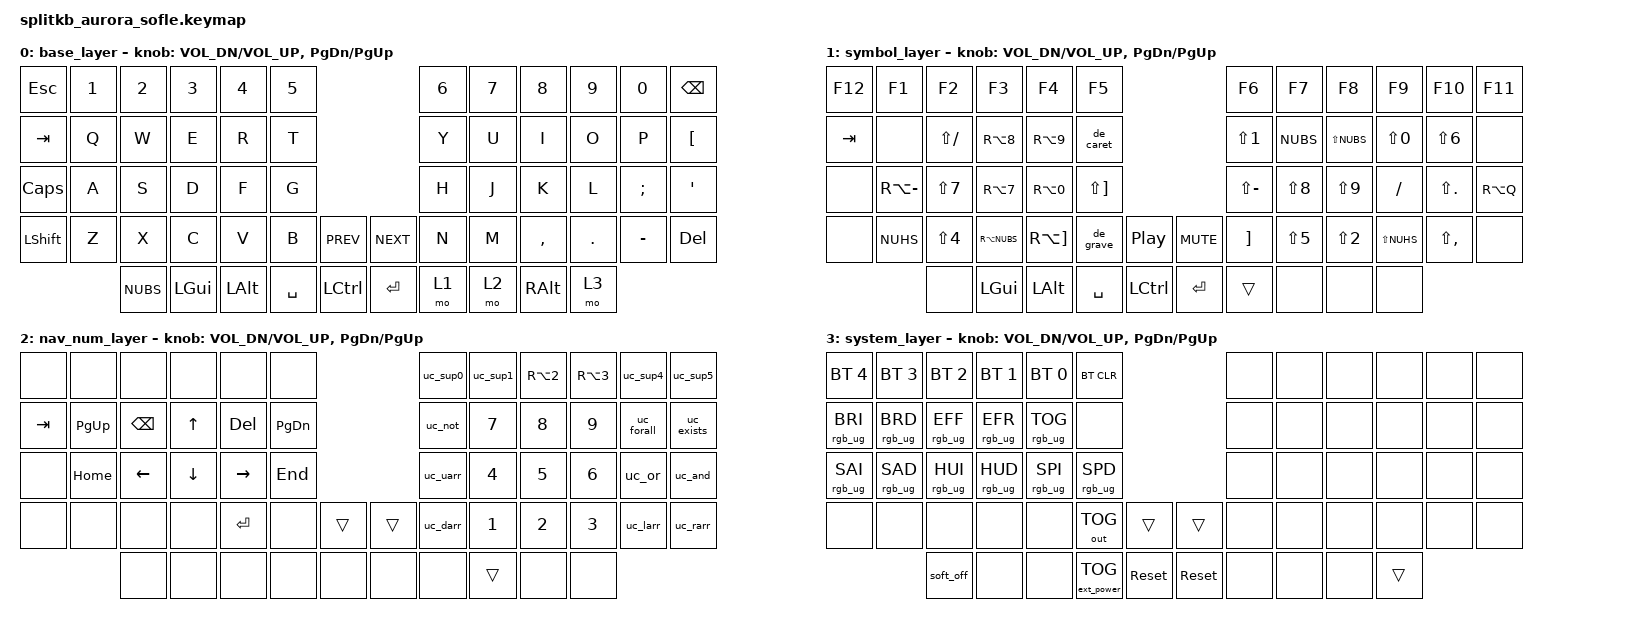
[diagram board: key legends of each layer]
/*
 * Copyright (c) 2020 The ZMK Contributors
 *
 * SPDX-License-Identifier: MIT
 */

#include <behaviors.dtsi>
#include <dt-bindings/zmk/bt.h>
#include <dt-bindings/zmk/ext_power.h>
#include <dt-bindings/zmk/keys.h>
#include <dt-bindings/zmk/outputs.h>
#include <dt-bindings/zmk/rgb.h>

// Aurora Sofle v2 LED chain, per half: 6 WS2812B underglow + 29 SK6812 MINI-E per-key = 35.
// The strip itself (SPI3, data on P0.06, GRB order) is already defined by ZMK's
// splitkb_aurora_sofle shield for nice!nano; only the length needs overriding here.
&led_strip {
    chain-length = <35>;
};

// ---------------------------------------------------------------------------
// German (QWERTZ) layout on the host.
// ZMK sends US key positions; these aliases name what the German OS layout
// actually types for each position.
// ---------------------------------------------------------------------------
#define DE_Z      Y
#define DE_Y      Z
#define DE_UE     LBKT              // ü
#define DE_OE     SEMI              // ö
#define DE_AE     SQT               // ä
#define DE_SZ     MINUS             // ß
#define DE_LT     NUBS              // <
#define DE_GT     LS(NUBS)          // >
#define DE_PIPE   RA(NUBS)          // |
#define DE_MINUS  FSLH              // -
#define DE_UNDER  LS(FSLH)          // _
#define DE_PLUS   RBKT              // +
#define DE_STAR   LS(RBKT)          // *
#define DE_TILDE  RA(RBKT)          // ~
#define DE_HASH   NUHS              // #
#define DE_SQT    LS(NUHS)          // '
#define DE_EXCL   LS(N1)            // !
#define DE_DQT    LS(N2)            // "
#define DE_DLLR   LS(N4)            // $
#define DE_PRCNT  LS(N5)            // %
#define DE_AMPS   LS(N6)            // &
#define DE_SLASH  LS(N7)            // /
#define DE_LPAR   LS(N8)            // (
#define DE_RPAR   LS(N9)            // )
#define DE_EQUAL  LS(N0)            // =
#define DE_QMARK  LS(MINUS)         // ?
#define DE_LBRC   RA(N7)            // {
#define DE_LBKT   RA(N8)            // [
#define DE_RBKT   RA(N9)            // ]
#define DE_RBRC   RA(N0)            // }
#define DE_BSLH   RA(MINUS)         // backslash
#define DE_AT     RA(Q)             // @
#define DE_COLON  LS(DOT)           // :
#define DE_SEMI   LS(COMMA)         // ;
#define DE_SUP2   RA(N2)            // ²
#define DE_SUP3   RA(N3)            // ³

// ---------------------------------------------------------------------------
// Unicode characters the German layout can't type, sent with Windows'
// hex-numpad input: hold Alt, numpad +, the hex code point, release Alt.
// Needs EnableHexNumpad = "1" (REG_SZ) under HKCU\Control Panel\Input Method,
// a sign-out afterwards, and NumLock on.
// ---------------------------------------------------------------------------
#define UNICODE(name, h1, h2, h3, h4)                                   \
    ZMK_MACRO(name,                                                      \
        bindings = <&macro_press &kp LALT>,                              \
                   <&macro_tap &kp KP_PLUS &kp h1 &kp h2 &kp h3 &kp h4>, \
                   <&macro_release &kp LALT>;                            \
    )

/ {
    macros {
        // ^ and ` are dead keys on the German layout; follow them with a space
        // so they type the plain character.
        de_caret: de_caret {
            compatible = "zmk,behavior-macro";
            #binding-cells = <0>;
            bindings = <&kp GRAVE &kp SPACE>;
        };
        de_grave: de_grave {
            compatible = "zmk,behavior-macro";
            #binding-cells = <0>;
            bindings = <&kp LS(EQUAL) &kp SPACE>;
        };

        UNICODE(uc_sup0,   KP_N2, KP_N0, KP_N7, KP_N0)   // ⁰ U+2070
        UNICODE(uc_sup1,   KP_N0, KP_N0, B,     KP_N9)   // ¹ U+00B9
        UNICODE(uc_sup4,   KP_N2, KP_N0, KP_N7, KP_N4)   // ⁴ U+2074
        UNICODE(uc_sup5,   KP_N2, KP_N0, KP_N7, KP_N5)   // ⁵ U+2075
        UNICODE(uc_forall, KP_N2, KP_N2, KP_N0, KP_N0)   // ∀ U+2200
        UNICODE(uc_exists, KP_N2, KP_N2, KP_N0, KP_N3)   // ∃ U+2203
        UNICODE(uc_or,     KP_N2, KP_N2, KP_N2, KP_N8)   // ∨ U+2228
        UNICODE(uc_and,    KP_N2, KP_N2, KP_N2, KP_N7)   // ∧ U+2227
        UNICODE(uc_not,    KP_N0, KP_N0, A,     C)       // ¬ U+00AC
        UNICODE(uc_larr,   KP_N2, KP_N1, KP_N9, KP_N0)   // ← U+2190
        UNICODE(uc_uarr,   KP_N2, KP_N1, KP_N9, KP_N1)   // ↑ U+2191
        UNICODE(uc_rarr,   KP_N2, KP_N1, KP_N9, KP_N2)   // → U+2192
        UNICODE(uc_darr,   KP_N2, KP_N1, KP_N9, KP_N3)   // ↓ U+2193
    };

    keymap {
        compatible = "zmk,keymap";

        // Row 4 of each layer: left half, then the two encoder push buttons
        // (left, right), then the right half.

        base_layer {
            // | Esc   | 1   | 2   | 3   | 4   | 5   |                   | 6   | 7   | 8   | 9   | 0   | Bksp |
            // | Tab   | q   | w   | e   | r   | t   |                   | z   | u   | i   | o   | p   | ü    |
            // | Caps  | a   | s   | d   | f   | g   |                   | h   | j   | k   | l   | ö   | ä    |
            // | Shift | y   | x   | c   | v   | b   | Prev |     | Next | n   | m   | ,   | .   | ß   | Del  |
            //             | <>| | Win | Alt |Space| Ctrl |     |Enter | L1  | L2  |AltGr| L3  |
            bindings = <
&kp ESC    &kp N1    &kp N2    &kp N3    &kp N4    &kp N5                            &kp N6    &kp N7    &kp N8     &kp N9    &kp N0     &kp BSPC
&kp TAB    &kp Q     &kp W     &kp E     &kp R     &kp T                             &kp DE_Z  &kp U     &kp I      &kp O     &kp P      &kp DE_UE
&kp CAPS   &kp A     &kp S     &kp D     &kp F     &kp G                             &kp H     &kp J     &kp K      &kp L     &kp DE_OE  &kp DE_AE
&kp LSHFT  &kp DE_Y  &kp X     &kp C     &kp V     &kp B      &kp C_PREV &kp C_NEXT  &kp N     &kp M     &kp COMMA  &kp DOT   &kp DE_SZ  &kp DEL
                     &kp NUBS  &kp LGUI  &kp LALT  &kp SPACE  &kp LCTRL  &kp RET     &mo 1     &mo 2     &kp RALT   &mo 3
            >;

            sensor-bindings = <&inc_dec_kp C_VOL_DN C_VOL_UP &inc_dec_kp PG_DN PG_UP>;
        };

        symbol_layer {
            // | F12 | F1  | F2  | F3  | F4  | F5  |                   | F6  | F7  | F8  | F9  | F10 | F11 |
            // | Tab |     | _   | [   | ]   | ^   |                   | !   | <   | >   | =   | &   |     |
            // |     | \   | /   | {   | }   | *   |                   | ?   | (   | )   | -   | :   | @   |
            // |     | #   | $   | |   | ~   | `   | Play |     | Mute  | +   | %   | "   | '   | ;   |     |
            //             |     | Win | Alt |Space| Ctrl|     |Enter|(held)|     |     |     |
            bindings = <
&kp F12   &kp F1       &kp F2        &kp F3        &kp F4         &kp F5                             &kp F6        &kp F7        &kp F8        &kp F9       &kp F10       &kp F11
&kp TAB   &none        &kp DE_UNDER  &kp DE_LBKT   &kp DE_RBKT    &de_caret                          &kp DE_EXCL   &kp DE_LT     &kp DE_GT     &kp DE_EQUAL &kp DE_AMPS   &none
&none     &kp DE_BSLH  &kp DE_SLASH  &kp DE_LBRC   &kp DE_RBRC    &kp DE_STAR                        &kp DE_QMARK  &kp DE_LPAR   &kp DE_RPAR   &kp DE_MINUS &kp DE_COLON  &kp DE_AT
&none     &kp DE_HASH  &kp DE_DLLR   &kp DE_PIPE   &kp DE_TILDE   &de_grave   &kp C_PP   &kp C_MUTE  &kp DE_PLUS   &kp DE_PRCNT  &kp DE_DQT    &kp DE_SQT   &kp DE_SEMI   &none
                       &none         &kp LGUI      &kp LALT       &kp SPACE   &kp LCTRL  &kp RET     &trans        &none         &none         &none
            >;

            sensor-bindings = <&inc_dec_kp C_VOL_DN C_VOL_UP &inc_dec_kp PG_DN PG_UP>;
        };

        nav_num_layer {
            // |     |      |      |      |      |      |                  | ⁰   | ¹   | ²   | ³   | ⁴   | ⁵   |
            // | Tab | PgUp | Bksp | Up   | Del  | PgDn |                  | ¬   | 7   | 8   | 9   | ∀   | ∃   |
            // |     | Home | Left | Down | Right| End  |                  | ↑   | 4   | 5   | 6   | ∨   | ∧   |
            // |     |      |      |      | Enter|      |      |    |      | ↓   | 1   | 2   | 3   | ←   | →   |
            //              |      |      |      |      |      |    |      |     |(held)|    |     |
            bindings = <
&none     &none      &none      &none      &none       &none                       &uc_sup0   &uc_sup1  &kp DE_SUP2  &kp DE_SUP3  &uc_sup4    &uc_sup5
&kp TAB   &kp PG_UP  &kp BSPC   &kp UP     &kp DEL     &kp PG_DN                   &uc_not    &kp N7    &kp N8       &kp N9       &uc_forall  &uc_exists
&none     &kp HOME   &kp LEFT   &kp DOWN   &kp RIGHT   &kp END                     &uc_uarr   &kp N4    &kp N5       &kp N6       &uc_or      &uc_and
&none     &none      &none      &none      &kp RET     &none    &trans    &trans   &uc_darr   &kp N1    &kp N2       &kp N3       &uc_larr    &uc_rarr
                     &none      &none      &none       &none    &none     &none    &none      &trans    &none        &none
            >;

            sensor-bindings = <&inc_dec_kp C_VOL_DN C_VOL_UP &inc_dec_kp PG_DN PG_UP>;
        };

        system_layer {
            // | BT4   | BT3   | BT2    | BT1    | BT0    | BTClr  |                    |  right half: only Reset   |
            // | Brt+  | Brt-  | EffNxt | EffPrv | RGBTog |        |                    |                           |
            // | Sat+  | Sat-  | Hue+   | Hue-   | Spd+   | Spd-   |                    |                           |
            // |       |       |        |        |        | USB/BT |     |        |     |                           |
            //                 | Off    |        |        | ExtPwr | Reset |  | Reset |            |(held)        |
            // &sys_reset only restarts the half it is pressed on, hence one per half.
            // &soft_off turns both halves off; press each half's reset button to wake it.
            bindings = <
&bt BT_SEL 4     &bt BT_SEL 3     &bt BT_SEL 2     &bt BT_SEL 1     &bt BT_SEL 0     &bt BT_CLR                                &none  &none  &none  &none  &none  &none
&rgb_ug RGB_BRI  &rgb_ug RGB_BRD  &rgb_ug RGB_EFF  &rgb_ug RGB_EFR  &rgb_ug RGB_TOG  &none                                     &none  &none  &none  &none  &none  &none
&rgb_ug RGB_SAI  &rgb_ug RGB_SAD  &rgb_ug RGB_HUI  &rgb_ug RGB_HUD  &rgb_ug RGB_SPI  &rgb_ug RGB_SPD                           &none  &none  &none  &none  &none  &none
&none            &none            &none            &none            &none            &out OUT_TOG       &trans      &trans      &none  &none  &none  &none  &none  &none
                                  &soft_off        &none            &none            &ext_power EP_TOG  &sys_reset  &sys_reset  &none  &none  &none  &trans
            >;

            sensor-bindings = <&inc_dec_kp C_VOL_DN C_VOL_UP &inc_dec_kp PG_DN PG_UP>;
        };
    };
};
